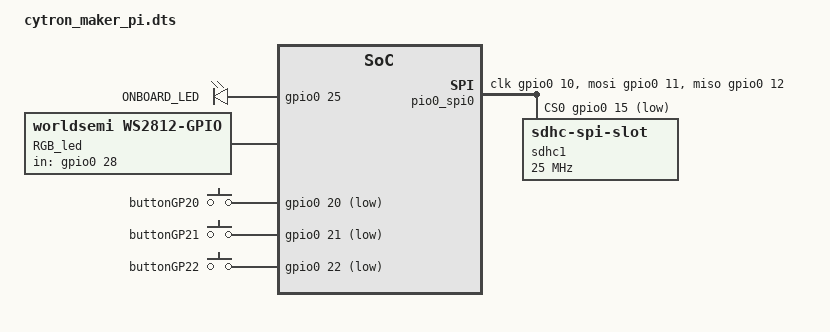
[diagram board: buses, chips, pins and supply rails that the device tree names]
/*
 * Copyright (c) 2021 Yonatan Schachter
 *
 * SPDX-License-Identifier: Apache-2.0
 */

/dts-v1/;

#include "rpi_pico-common.dtsi"

/ {
	leds {
		compatible = "gpio-leds";
		led0: led_0 {
			gpios = <&gpio0 25 GPIO_ACTIVE_HIGH>;
			label = "ONBOARD_LED";
		};
	};

	pwms {
		compatible = "pwm-leds";
		status = "disabled";
		pwm_buzzer: pwm_buzzer_0 {
			pwms = <&pwm 9 PWM_MSEC(20) PWM_POLARITY_NORMAL>;
			label = "BUZZER";
		};
	};

	RGB_led {
		compatible = "worldsemi,ws2812-gpio";
		chain-length = <1>;
		color-mapping = <LED_COLOR_ID_GREEN
				 LED_COLOR_ID_RED
				 LED_COLOR_ID_BLUE>;
		in-gpios = <&gpio0 28 0>;
	};

	buttons {
		compatible = "gpio-keys";
		buttonGP20: button_GP20 {
			label = "buttonGP20";
			gpios = <&gpio0 20 (GPIO_PULL_UP | GPIO_ACTIVE_LOW)>;
			zephyr,code = <INPUT_KEY_0>;
		};
		buttonGP21: button_GP21 {
			label = "buttonGP21";
			gpios = <&gpio0 21 (GPIO_PULL_UP | GPIO_ACTIVE_LOW)>;
			zephyr,code = <INPUT_KEY_1>;
		};
		buttonGP22: button_GP22 {
			label = "buttonGP22";
			gpios = <&gpio0 22 (GPIO_PULL_UP | GPIO_ACTIVE_LOW)>;
			zephyr,code = <INPUT_KEY_2>;
		};
	};
	aliases {
		led0 = &led0;
		pwm-led0 = &pwm_led0;
	};
};

&pio0 {
	status = "okay";

	pio0_spi0: pio0_spi0 {
		pinctrl-0 = <&pio0_spi0_default>;
		pinctrl-names = "default";

		compatible = "raspberrypi,pico-spi-pio";
		status = "okay";
		#address-cells = <1>;
		#size-cells = <0>;
		clocks = < &system_clk >;
		miso-gpios = <&gpio0 12 0>;
		cs-gpios = <&gpio0 15 GPIO_ACTIVE_LOW>;
		clk-gpios = <&gpio0 10 GPIO_ACTIVE_HIGH>;
		mosi-gpios = <&gpio0 11 GPIO_ACTIVE_HIGH>;
		sdhc1: sdhc@1 {
			compatible = "zephyr,sdhc-spi-slot";
			reg = <0>;
			status = "okay";
			mmc {
				compatible = "zephyr,sdmmc-disk";
				status = "okay";
			};
			spi-max-frequency = <25000000>;
			spi-clock-mode-cpol;
			spi-clock-mode-cpha;
		};
	};
};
